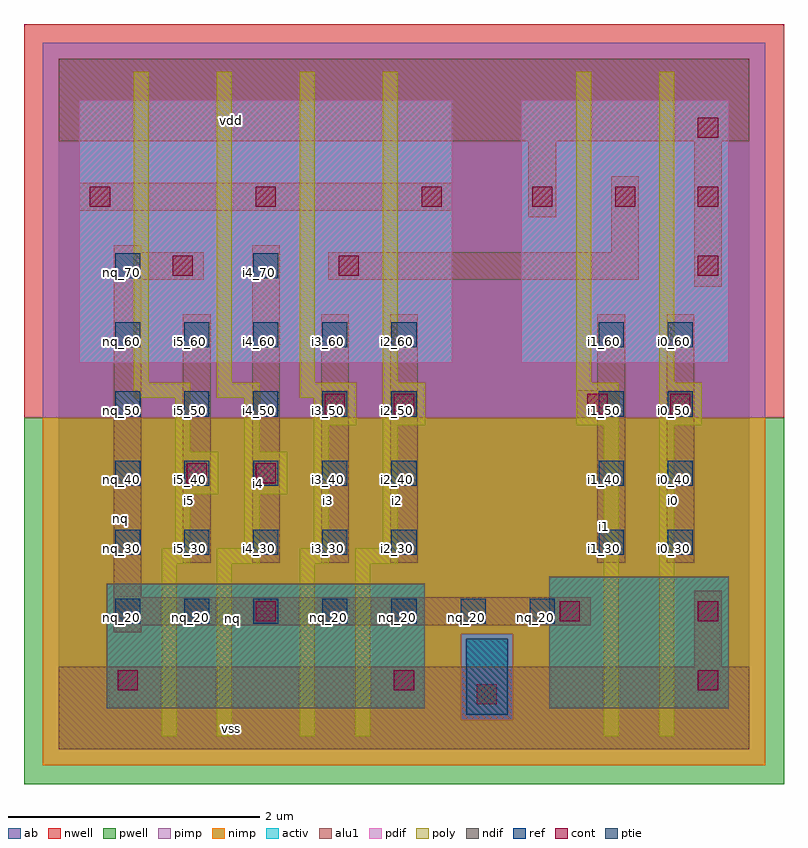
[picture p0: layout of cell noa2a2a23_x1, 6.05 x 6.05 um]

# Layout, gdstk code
import gdstk
lib = gdstk.Library(unit=1e-6, precision=2.5e-09)
def R(c, l, rs):  # rectangles x0, y0, x1, y1
    for r in rs: c.add(gdstk.rectangle(r[:2], r[2:], *l))
def A(c, l, x, y, w, h, nx, ny, dx, dy):  # array of equal rectangles
    R(c, l, [(x+i*dx, y+j*dy, x+i*dx+w, y+j*dy+h) for i in range(nx) for j in range(ny)])
ndif = (3, 0)
pdif = (4, 0)
ptie = (6, 0)
ref = (24, 0)
cont = (25, 0)
pwell = (41, 0)
nwell = (42, 0)
activ = (43, 0)
pimp = (44, 0)
nimp = (45, 0)
poly = (46, 0)
alu1 = (49, 0)
ab = (63, 0)

noa2a2a23_x1 = lib.new_cell('noa2a2a23_x1')
R(noa2a2a23_x1, ndif, [(0.385,0.33,2.915,1.32), (3.905,0.33,5.335,1.375)])
R(noa2a2a23_x1, pdif, [(0.165,3.08,3.135,5.17), (3.685,3.08,5.335,5.17)])
R(noa2a2a23_x1, ptie, [(3.245,0.275,3.575,0.88)])
A(noa2a2a23_x1, ref, 0.45, 1, 0.2, 0.2, 7, 1, 0.55, 0)
A(noa2a2a23_x1, ref, 0.45, 1.55, 0.2, 0.2, 5, 4, 0.55, 0.55)
A(noa2a2a23_x1, ref, 4.3, 1.55, 0.2, 0.2, 1, 4, 0, 0.55)
A(noa2a2a23_x1, ref, 4.85, 1.55, 0.2, 0.2, 1, 4, 0, 0.55)
R(noa2a2a23_x1, ref, [(0.45,3.75,0.65,3.95), (1.55,3.75,1.75,3.95)])
A(noa2a2a23_x1, cont, 0.25, 4.32, 0.16, 0.16, 3, 1, 1.32, 0)
A(noa2a2a23_x1, cont, 3.77, 4.32, 0.16, 0.16, 3, 1, 0.66, 0)
R(noa2a2a23_x1, cont, [(3.33,0.36,3.49,0.52), (0.47,0.47,0.63,0.63), (2.67,0.47,2.83,0.63), (5.09,0.47,5.25,0.63), (1.57,1.02,1.73,1.18), (3.99,1.02,4.15,1.18), (5.09,1.02,5.25,1.18), (1.02,2.12,1.18,2.28), (1.57,2.12,1.73,2.28), (2.12,2.67,2.28,2.83), (2.67,2.67,2.83,2.83), (4.21,2.67,4.37,2.83), (4.87,2.67,5.03,2.83), (0.91,3.77,1.07,3.93), (2.23,3.77,2.39,3.93), (5.09,3.77,5.25,3.93), (5.09,4.87,5.25,5.03)])
R(noa2a2a23_x1, pwell, [(-0.275,-0.275,5.775,2.64)])
R(noa2a2a23_x1, nwell, [(-0.275,2.64,5.775,5.775)])
R(noa2a2a23_x1, activ, [(3.245,0.275,3.575,0.88), (0.385,0.33,2.915,1.32), (3.905,0.33,5.335,1.375), (0.165,3.08,3.135,5.17), (3.685,3.08,5.335,5.17)])
R(noa2a2a23_x1, pimp, [(3.205,0.235,3.615,0.92), (-0.125,2.64,5.625,5.625)])
R(noa2a2a23_x1, nimp, [(-0.125,-0.125,5.625,0.235), (-0.125,0.235,3.205,0.92), (3.615,0.235,5.625,0.92), (-0.125,0.92,5.625,2.64)])
A(noa2a2a23_x1, poly, 0.6, 2.92, 0.12, 2.475, 4, 1, 0.66, 0)
R(noa2a2a23_x1, poly, [(0.82,0.105,0.94,1.48), (1.26,0.105,1.38,1.48), (1.92,0.105,2.04,1.48), (2.36,0.105,2.48,1.48), (4.34,0.105,4.46,2.58), (4.78,0.105,4.9,2.58), (0.82,1.48,1.05,1.6), (1.26,1.48,1.6,1.6), (1.92,1.48,2.15,1.6), (2.36,1.48,2.7,1.6), (0.93,1.6,1.05,2.03), (1.48,1.6,1.6,2.03), (2.03,1.6,2.15,2.58), (2.58,1.6,2.7,2.58), (0.93,2.03,1.27,2.37), (1.48,2.03,1.82,2.37), (0.93,2.37,1.05,2.8), (1.48,2.37,1.6,2.8), (2.03,2.58,2.37,2.8), (2.58,2.58,2.92,2.92), (4.12,2.58,4.46,2.92), (4.78,2.58,5.12,2.92), (0.6,2.8,1.05,2.92), (1.26,2.8,1.6,2.92), (1.92,2.8,2.37,2.92), (4.12,2.92,4.24,5.395), (4.78,2.92,4.9,5.395)])
R(noa2a2a23_x1, alu1, [(0,0,5.5,0.66), (5.06,0.66,5.28,1.265), (0.44,0.935,0.66,0.99), (0.44,0.99,4.235,1.21), (0.44,1.21,0.66,3.74), (0.99,1.485,1.21,3.465), (1.54,1.485,1.76,4.015), (2.09,1.485,2.31,3.465), (2.64,1.485,2.86,3.465), (4.29,1.485,4.51,2.64), (4.84,1.485,5.06,3.465), (4.125,2.64,4.51,2.86), (4.29,2.86,4.51,3.465), (5.06,3.685,5.28,4.84), (0.44,3.74,1.155,3.96), (2.145,3.74,4.62,3.96), (0.44,3.96,0.66,4.015), (4.4,3.96,4.62,4.565), (3.74,4.235,3.96,4.84), (0.165,4.29,3.135,4.51), (0,4.84,5.5,5.5)])
R(noa2a2a23_x1, ab, [(0,0,5.5,5.5)])
noa2a2a23_x1.add(gdstk.Label('vss', (1.375,0.165), layer=49, texttype=0))
noa2a2a23_x1.add(gdstk.Label('nq', (1.3875,1.045), layer=49, texttype=0))
noa2a2a23_x1.add(gdstk.Label('i0', (4.895,1.98), layer=49, texttype=0))
noa2a2a23_x1.add(gdstk.Label('i1', (4.345,1.7725), layer=49, texttype=0))
noa2a2a23_x1.add(gdstk.Label('i2', (2.695,1.98), layer=49, texttype=0))
noa2a2a23_x1.add(gdstk.Label('i3', (2.145,1.98), layer=49, texttype=0))
noa2a2a23_x1.add(gdstk.Label('i4', (1.595,2.1175), layer=49, texttype=0))
noa2a2a23_x1.add(gdstk.Label('i5', (1.045,1.98), layer=49, texttype=0))
noa2a2a23_x1.add(gdstk.Label('nq', (0.495,1.8425), layer=49, texttype=0))
noa2a2a23_x1.add(gdstk.Label('vdd', (1.375,5.005), layer=49, texttype=0))
noa2a2a23_x1.add(gdstk.Label('nq_20', (1.05,1.05), layer=24, texttype=0))
noa2a2a23_x1.add(gdstk.Label('nq_20', (1.6,1.05), layer=24, texttype=0))
noa2a2a23_x1.add(gdstk.Label('nq_20', (2.15,1.05), layer=24, texttype=0))
noa2a2a23_x1.add(gdstk.Label('nq_20', (2.7,1.05), layer=24, texttype=0))
noa2a2a23_x1.add(gdstk.Label('nq_20', (3.25,1.05), layer=24, texttype=0))
noa2a2a23_x1.add(gdstk.Label('nq_20', (3.8,1.05), layer=24, texttype=0))
noa2a2a23_x1.add(gdstk.Label('i5_40', (1.05,2.15), layer=24, texttype=0))
noa2a2a23_x1.add(gdstk.Label('i5_50', (1.05,2.7), layer=24, texttype=0))
noa2a2a23_x1.add(gdstk.Label('i5_60', (1.05,3.25), layer=24, texttype=0))
noa2a2a23_x1.add(gdstk.Label('i5_30', (1.05,1.6), layer=24, texttype=0))
noa2a2a23_x1.add(gdstk.Label('i3_30', (2.15,1.6), layer=24, texttype=0))
noa2a2a23_x1.add(gdstk.Label('i3_50', (2.15,2.7), layer=24, texttype=0))
noa2a2a23_x1.add(gdstk.Label('i3_60', (2.15,3.25), layer=24, texttype=0))
noa2a2a23_x1.add(gdstk.Label('i2_30', (2.7,1.6), layer=24, texttype=0))
noa2a2a23_x1.add(gdstk.Label('i2_40', (2.7,2.15), layer=24, texttype=0))
noa2a2a23_x1.add(gdstk.Label('i2_50', (2.7,2.7), layer=24, texttype=0))
noa2a2a23_x1.add(gdstk.Label('i2_60', (2.7,3.25), layer=24, texttype=0))
noa2a2a23_x1.add(gdstk.Label('i3_40', (2.15,2.15), layer=24, texttype=0))
noa2a2a23_x1.add(gdstk.Label('i4_30', (1.6,1.6), layer=24, texttype=0))
noa2a2a23_x1.add(gdstk.Label('i4_40', (1.6,2.15), layer=24, texttype=0))
noa2a2a23_x1.add(gdstk.Label('i4_50', (1.6,2.7), layer=24, texttype=0))
noa2a2a23_x1.add(gdstk.Label('nq_50', (0.5,2.7), layer=24, texttype=0))
noa2a2a23_x1.add(gdstk.Label('nq_40', (0.5,2.15), layer=24, texttype=0))
noa2a2a23_x1.add(gdstk.Label('nq_30', (0.5,1.6), layer=24, texttype=0))
noa2a2a23_x1.add(gdstk.Label('nq_70', (0.5,3.8), layer=24, texttype=0))
noa2a2a23_x1.add(gdstk.Label('nq_60', (0.5,3.25), layer=24, texttype=0))
noa2a2a23_x1.add(gdstk.Label('i1_40', (4.35,2.15), layer=24, texttype=0))
noa2a2a23_x1.add(gdstk.Label('i0_50', (4.9,2.7), layer=24, texttype=0))
noa2a2a23_x1.add(gdstk.Label('i0_40', (4.9,2.15), layer=24, texttype=0))
noa2a2a23_x1.add(gdstk.Label('i0_30', (4.9,1.6), layer=24, texttype=0))
noa2a2a23_x1.add(gdstk.Label('i0_60', (4.9,3.25), layer=24, texttype=0))
noa2a2a23_x1.add(gdstk.Label('i1_60', (4.35,3.25), layer=24, texttype=0))
noa2a2a23_x1.add(gdstk.Label('i1_50', (4.35,2.7), layer=24, texttype=0))
noa2a2a23_x1.add(gdstk.Label('i1_30', (4.35,1.6), layer=24, texttype=0))
noa2a2a23_x1.add(gdstk.Label('nq_20', (0.5,1.05), layer=24, texttype=0))
noa2a2a23_x1.add(gdstk.Label('i4_60', (1.6,3.25), layer=24, texttype=0))
noa2a2a23_x1.add(gdstk.Label('i4_70', (1.6,3.8), layer=24, texttype=0))

lib.write_gds('noa2a2a23_x1.gds')
